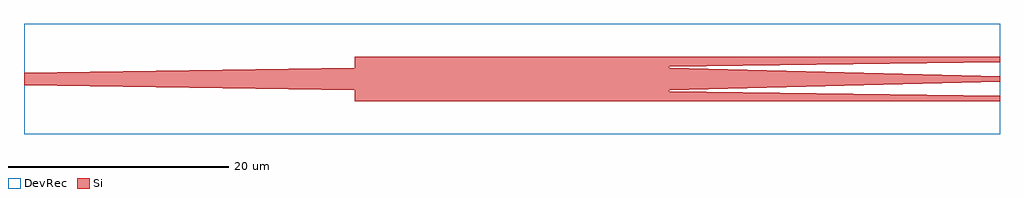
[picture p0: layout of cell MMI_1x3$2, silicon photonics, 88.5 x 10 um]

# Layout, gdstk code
import gdstk
lib = gdstk.Library(unit=1e-6, precision=1e-09)
def R(c, l, rs):  # rectangles x0, y0, x1, y1
    for r in rs: c.add(gdstk.rectangle(r[:2], r[2:], *l))
def P(c, l, *ps):  # polygons
    for p in ps: c.add(gdstk.Polygon(p, *l))
Si = (1, 0)
DevRec = (68, 0)

out3_2 = lib.new_cell('out3$2')
P(out3_2, Si, [(14.25,-1),(14.25,1),(44.25,0.25),(44.25,-0.25)])

out2_2 = lib.new_cell('out2$2')
P(out2_2, Si, [(14.25,-2),(14.25,-1.1),(44.25,-1.5),(44.25,-2)])

out1_2 = lib.new_cell('out1$2')
P(out1_2, Si, [(14.25,1.1),(14.25,2),(44.25,2),(44.25,1.5)])

in1_2 = lib.new_cell('in1$2')
P(in1_2, Si, [(-14.25,-1),(-44.25,-0.55),(-44.25,0.55),(-14.25,1)])

box_2 = lib.new_cell('box$2')
R(box_2, Si, [(-14.25,-2,14.25,2)])

layer_si3n4_1 = lib.new_cell('LAYER_Si3N4$1')
layer_si3n4_1.add(gdstk.Reference(out3_2, (0,0)))
layer_si3n4_1.add(gdstk.Reference(out2_2, (0,0)))
layer_si3n4_1.add(gdstk.Reference(out1_2, (0,0)))
layer_si3n4_1.add(gdstk.Reference(in1_2, (0,0)))
layer_si3n4_1.add(gdstk.Reference(box_2, (0,0)))

mmi_1x3_2 = lib.new_cell('MMI_1x3$2')
R(mmi_1x3_2, DevRec, [(-44.25,-5,44.25,5)])
mmi_1x3_2.add(gdstk.Reference(layer_si3n4_1, (0,0)))

lib.write_gds('MMI_1x3_2.gds')
